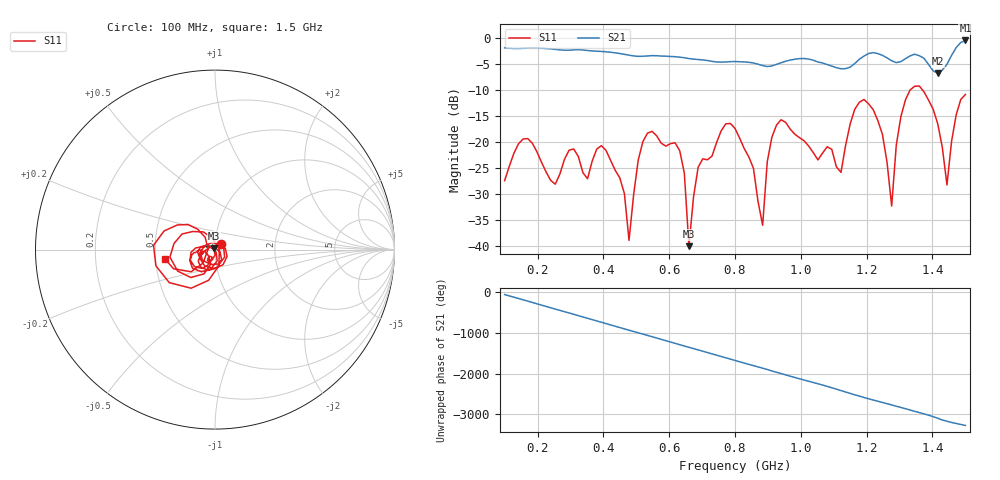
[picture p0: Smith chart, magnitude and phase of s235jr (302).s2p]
! NanoVNA-App
! Date: 2025-09-25 15:06:31
! Start: 100MHz Stop: 1,5GHz Points: 101
! S-Parameter data: F S11 S21 S12 S22
# Hz S RI R 50
!  Frequency  S11_Real  S11_Imag  S21_Real  S21_Imag  S12_Real  S12_Imag  S22_Real  S22_Imag
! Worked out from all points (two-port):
!   101 points, 100 MHz to 1.5 GHz, reference 50 ohm
!   highest |S21| = -0.54 dB at 1.5 GHz (marker M1); lowest = -6.9 dB at 1.416 GHz (marker M2)
!   |S21| within 3 dB of the highest: start of sweep to 496.9 MHz; 528.5 MHz to 577.2 MHz (48.73 MHz wide, 8.81 % of centre) (the widest 2 of 5)
!   lowest |S11| = -40.1 dB at 660 MHz (marker M3), VSWR 1.02, Z = 49.2 + j0.627 ohm
!   |S11| at or under -10 dB: start of sweep to 1.333 GHz; 1.369 GHz to end of sweep
!   S12 and S22 are empty: the file has one direction only
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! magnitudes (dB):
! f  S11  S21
! 100 MHz  -27.5  -2.0
! 156 MHz  -19.5  -2.0
! 338 MHz  -26.0  -2.4
! 408 MHz  -21.6  -2.7
! 478 MHz  -38.9  -3.4
! 520 MHz  -20.0  -3.6
! 576 MHz  -20.3  -3.5
! 632 MHz  -21.7  -3.7
! 660 MHz  -40.1  -4.0
! 688 MHz  -24.9  -4.2
! 800 MHz  -17.4  -4.6
! 884 MHz  -36.0  -5.4
! 926 MHz  -16.8  -5.1
! 1.038 GHz  -22.1  -4.3
! 1.122 GHz  -25.9  -6.0
! 1.192 GHz  -11.9  -3.5
! 1.248 GHz  -18.6  -3.4
! 1.276 GHz  -32.3  -4.4
! 1.332 GHz  -10.1  -3.5
! 1.416 GHz  -16.5  -6.9
! 1.444 GHz  -28.3  -5.1
! 1.5 GHz  -10.9  -0.5
